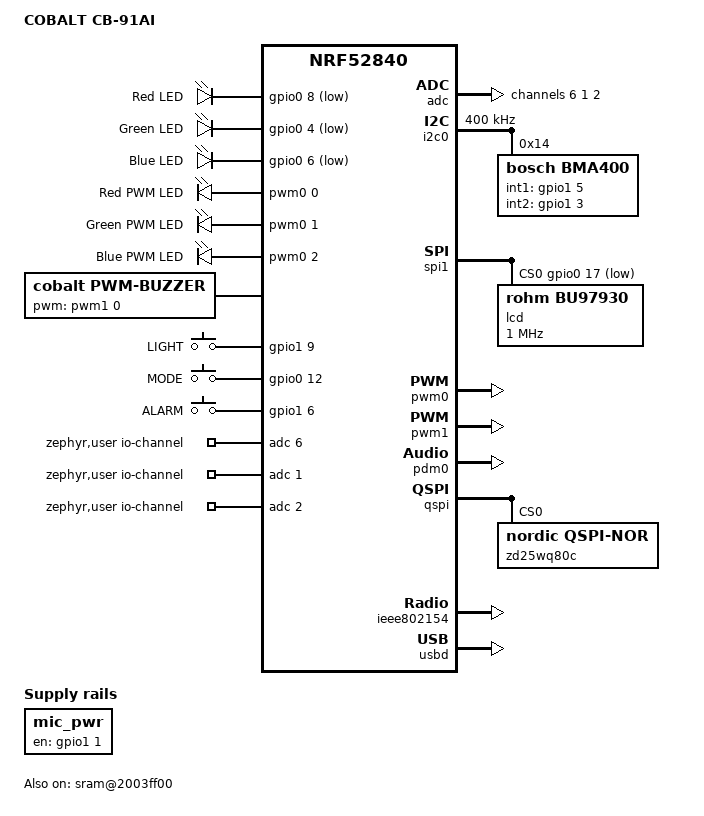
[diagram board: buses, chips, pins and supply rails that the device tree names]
/*
 * Copyright (c) 2026 COBALT Technologies
 * SPDX-License-Identifier: Apache-2.0
 *
 * COBALT CB-91AI: nRF52840 based replacement board for the Casio F-91W.
 */

/dts-v1/;
#include <nordic/nrf52840_qiaa.dtsi>
#include "cb91ai-pinctrl.dtsi"
#include <zephyr/dt-bindings/adc/adc.h>
#include <zephyr/dt-bindings/adc/nrf-adc.h>
#include <zephyr/dt-bindings/gpio/nordic-nrf-gpio.h>
#include <zephyr/dt-bindings/i2c/i2c.h>
#include <zephyr/dt-bindings/input/input-event-codes.h>
#include <zephyr/dt-bindings/pwm/pwm.h>
#include <zephyr/dt-bindings/regulator/nrf5x.h>

/ {
	model = "COBALT CB-91AI";
	compatible = "cobalt,cb91ai";

	chosen {
		zephyr,sram = &sram0;
		zephyr,flash = &flash0;
		zephyr,code-partition = &slot0_partition;
		zephyr,ieee802154 = &ieee802154;
	};

	leds {
		compatible = "gpio-leds";
		led_red: led_0 {
			gpios = <&gpio0 8 GPIO_ACTIVE_LOW>;
			label = "Red LED";
		};
		led_green: led_1 {
			gpios = <&gpio0 4 GPIO_ACTIVE_LOW>;
			label = "Green LED";
		};
		led_blue: led_2 {
			gpios = <&gpio0 6 GPIO_ACTIVE_LOW>;
			label = "Blue LED";
		};
	};

	pwmleds {
		compatible = "pwm-leds";
		pwm_led_red: pwm_led_0 {
			pwms = <&pwm0 0 PWM_MSEC(20) PWM_POLARITY_INVERTED>;
			label = "Red PWM LED";
		};
		pwm_led_green: pwm_led_1 {
			pwms = <&pwm0 1 PWM_MSEC(20) PWM_POLARITY_INVERTED>;
			label = "Green PWM LED";
		};
		pwm_led_blue: pwm_led_2 {
			pwms = <&pwm0 2 PWM_MSEC(20) PWM_POLARITY_INVERTED>;
			label = "Blue PWM LED";
		};
	};

	buzzer: buzzer {
		compatible = "cobalt,pwm-buzzer";
		pwms = <&pwm1 0 PWM_USEC(250) PWM_POLARITY_NORMAL>;
		status = "okay";
	};

	/* Case buttons: a press connects the input to the metal frame of the
	 * module, which carries the battery + (measured on the cell, 2026-09-22,
	 * V2-22): internal pull-down, active high. Without a cell the frame is not
	 * at the battery potential and the buttons read nothing; the reading of
	 * 2026-09-16 (frame at GND) was taken that way, on USB with no cell. A
	 * series resistor per input is planned for V2 (V2-12).
	 */
	buttons {
		compatible = "gpio-keys";
		button_light: button_0 {
			gpios = <&gpio1 9 (GPIO_ACTIVE_HIGH | GPIO_PULL_DOWN)>;
			label = "LIGHT";
			zephyr,code = <INPUT_KEY_0>;
		};
		button_mode: button_1 {
			gpios = <&gpio0 12 (GPIO_ACTIVE_HIGH | GPIO_PULL_DOWN)>;
			label = "MODE";
			zephyr,code = <INPUT_KEY_1>;
		};
		button_alarm: button_2 {
			gpios = <&gpio1 6 (GPIO_ACTIVE_HIGH | GPIO_PULL_DOWN)>;
			label = "ALARM";
			zephyr,code = <INPUT_KEY_2>;
		};
	};

	/* Microphone supply switched by P1.01 (770 uA, high drive output) */
	mic_pwr: mic-pwr {
		compatible = "regulator-fixed";
		regulator-name = "mic-vdd";
		enable-gpios = <&gpio1 1 (GPIO_ACTIVE_HIGH | NRF_GPIO_DRIVE_H0H1)>;
		startup-delay-us = <10000>;
	};

	/* Battery: 1M / 510k divider on AIN6, V_AIN6 = V_bat * 510 / 1510 */
	zephyr,user {
		/* 0: battery node on AIN6, 1: VDD rail, 2: VDDH / 5 (USB 5 V) */
		io-channels = <&adc 6>, <&adc 1>, <&adc 2>;
		vbat-divider = <510 1510>;
	};

	/*
	 * Last 256 bytes of the RAM, taken away from the linker (sram0 is shortened
	 * below, for MCUboot as well): what has to survive a soft reset or a
	 * firmware update sits here at a fixed address, whatever the image. The
	 * RAM is never cleared, but a watchdog bite or a pin reset may corrupt it
	 * (nRF52840 PS v1.11, reset behavior, p. 90): each retention area carries a
	 * prefix and a CRC, so RAM left undefined by a power-on or corrupted by a
	 * reset is never taken for data. First user: the wall clock (src/clock.c).
	 */
	sram@2003ff00 {
		compatible = "zephyr,memory-region", "mmio-sram";
		reg = <0x2003ff00 0x100>;
		zephyr,memory-region = "RetainedMem";
		status = "okay";

		retainedmem {
			compatible = "zephyr,retained-ram";
			status = "okay";
			#address-cells = <1>;
			#size-cells = <1>;

			clock_retention: retention@0 {
				compatible = "zephyr,retention";
				status = "okay";
				reg = <0x0 0x20>;
				prefix = [c1 0c];
				checksum = <4>;
			};

			/* The boots and the watchdog bites (EF-72), counted at
			 * once, before the settings keep them: a watch that
			 * reboots in a loop is counted too (watch/src/counters.c) */
			counters_retention: retention@20 {
				compatible = "zephyr,retention";
				status = "okay";
				reg = <0x20 0x20>;
				prefix = [c0 57];
				checksum = <4>;
			};

			/* The last reading of the cell at rest: after a reset
			 * (an update, a bite), the boot would read it sagging
			 * from what came before (watch/src/main.c) */
			cell_retention: retention@40 {
				compatible = "zephyr,retention";
				status = "okay";
				reg = <0x40 0x20>;
				prefix = [ce 11];
				checksum = <4>;
			};
		};
	};

	aliases {
		led0 = &led_green;
		led1 = &led_red;
		led2 = &led_blue;
		pwm-led0 = &pwm_led_green;
		sw0 = &button_mode;
		sw1 = &button_light;
		sw2 = &button_alarm;
		watchdog0 = &wdt0;
		spi-flash0 = &zd25wq80c;
		accel0 = &bma400;
	};
};

&sram0 {
	/* 256 kB minus the retained area above */
	reg = <0x20000000 0x3ff00>;
};

&reg1 {
	/* L4 (10 uH) is present on DCC: REG1 can run in DC/DC mode */
	regulator-initial-mode = <NRF5X_REG_MODE_DCDC>;
};

&uicr {
	/* P0.18 is the reset button (U108) */
	gpio-as-nreset;
};

&adc {
	status = "okay";
	#address-cells = <1>;
	#size-cells = <0>;

	channel@6 {
		reg = <6>;
		zephyr,gain = "ADC_GAIN_1_2";
		zephyr,reference = "ADC_REF_INTERNAL";
		/* 338k source impedance: 40 us acquisition (Nordic table) */
		zephyr,acquisition-time = <ADC_ACQ_TIME(ADC_ACQ_TIME_MICROSECONDS, 40)>;
		zephyr,input-positive = <NRF_SAADC_AIN6>;
		zephyr,resolution = <12>;
		zephyr,oversampling = <4>;
	};

	/* Internal inputs: VDD is the 3V rail, VDDH / 5 the USB 5 V (0 V on battery) */
	channel@1 {
		reg = <1>;
		zephyr,gain = "ADC_GAIN_1_6";
		zephyr,reference = "ADC_REF_INTERNAL";
		zephyr,acquisition-time = <ADC_ACQ_TIME_DEFAULT>;
		zephyr,input-positive = <NRF_SAADC_VDD>;
		zephyr,resolution = <12>;
		zephyr,oversampling = <4>;
	};

	channel@2 {
		reg = <2>;
		zephyr,gain = "ADC_GAIN_1_2";
		zephyr,reference = "ADC_REF_INTERNAL";
		zephyr,acquisition-time = <ADC_ACQ_TIME_DEFAULT>;
		zephyr,input-positive = <NRF_SAADC_VDDHDIV5>;
		zephyr,resolution = <12>;
		zephyr,oversampling = <4>;
	};
};

&gpiote {
	status = "okay";
};

/* Edge interrupts through the SENSE mechanism (PORT event) on every pin: no
 * GPIOTE IN channel, which keeps a clock running and costs tens of uA. The
 * case buttons wake the firmware this way.
 */
&gpio0 {
	status = "okay";
	sense-edge-mask = <0xffffffff>;
};

&gpio1 {
	status = "okay";
	sense-edge-mask = <0xffffffff>;
};

&i2c0 {
	compatible = "nordic,nrf-twim";
	status = "okay";
	pinctrl-0 = <&i2c0_default>;
	pinctrl-1 = <&i2c0_sleep>;
	pinctrl-names = "default", "sleep";
	clock-frequency = <I2C_BITRATE_FAST>;

	/* Bosch BMA400, SDO tied to ground: address 0x14, CSB high: I2C mode */
	bma400: bma400@14 {
		compatible = "bosch,bma400";
		reg = <0x14>;
		int1-gpios = <&gpio1 5 GPIO_ACTIVE_HIGH>;
		int2-gpios = <&gpio1 3 GPIO_ACTIVE_HIGH>;
	};
};

&spi1 {
	compatible = "nordic,nrf-spim";
	status = "okay";
	pinctrl-0 = <&spi1_default>;
	pinctrl-1 = <&spi1_sleep>;
	pinctrl-names = "default", "sleep";
	cs-gpios = <&gpio0 17 GPIO_ACTIVE_LOW>;

	/* ROHM BU97930 segment LCD driver, 3 COM x 24 SEG used */
	lcd: bu97930@0 {
		compatible = "rohm,bu97930";
		reg = <0>;
		spi-max-frequency = <1000000>;
	};
};

&pwm0 {
	status = "okay";
	pinctrl-0 = <&pwm0_default>;
	pinctrl-1 = <&pwm0_sleep>;
	pinctrl-names = "default", "sleep";
};

&pwm1 {
	status = "okay";
	pinctrl-0 = <&pwm1_default>;
	pinctrl-1 = <&pwm1_sleep>;
	pinctrl-names = "default", "sleep";
};

&pdm0 {
	status = "okay";
	pinctrl-0 = <&pdm0_default>;
	pinctrl-1 = <&pdm0_sleep>;
	pinctrl-names = "default", "sleep";
	clock-source = "PCLK32M_HFXO";
};

&qspi {
	status = "okay";
	pinctrl-0 = <&qspi_default>;
	pinctrl-1 = <&qspi_sleep>;
	pinctrl-names = "default", "sleep";

	/*
	 * Zetta ZD25WQ80C, 8 Mbit, 1.65 V to 3.6 V. Its JEDEC ID is ba 40 14,
	 * as read on the V1 board on 2026-09-15 and as given in the ZD25WQ80C
	 * datasheet; ba 60 14 is the ID of the 2.7 V ZD25Q80C. Single-line read
	 * and program until the quad-enable procedure is confirmed on the board
	 * (V2-27).
	 */
	zd25wq80c: zd25wq80c@0 {
		compatible = "nordic,qspi-nor";
		reg = <0>;
		/* Quad I/O: QE is bit 1 of status register 2, written with 31H */
		quad-enable-requirements = "S2B1v6";
		writeoc = "pp4o";
		readoc = "read4io";
		sck-frequency = <8000000>;
		jedec-id = [ba 40 14];
		size = <8388608>;
		has-dpd;
		t-enter-dpd = <3000>;
		t-exit-dpd = <30000>;
		/* With CONFIG_PM_DEVICE_RUNTIME: deep power-down whenever idle (EF-52) */
		zephyr,pm-device-runtime-auto;
	};
};

&ieee802154 {
	status = "okay";
};

zephyr_udc0: &usbd {
	compatible = "nordic,nrf-usbd";
	status = "okay";
};

&flash0 {
	partitions {
		compatible = "fixed-partitions";
		#address-cells = <1>;
		#size-cells = <1>;

		boot_partition: partition@0 {
			label = "mcuboot";
			reg = <0x00000000 0x0000C000>;
		};
		slot0_partition: partition@c000 {
			label = "image-0";
			reg = <0x0000C000 0x00072000>;
		};
		slot1_partition: partition@7e000 {
			label = "image-1";
			reg = <0x0007E000 0x00072000>;
		};
		storage_partition: partition@f0000 {
			label = "storage";
			reg = <0x000F0000 0x00010000>;
		};
	};
};
